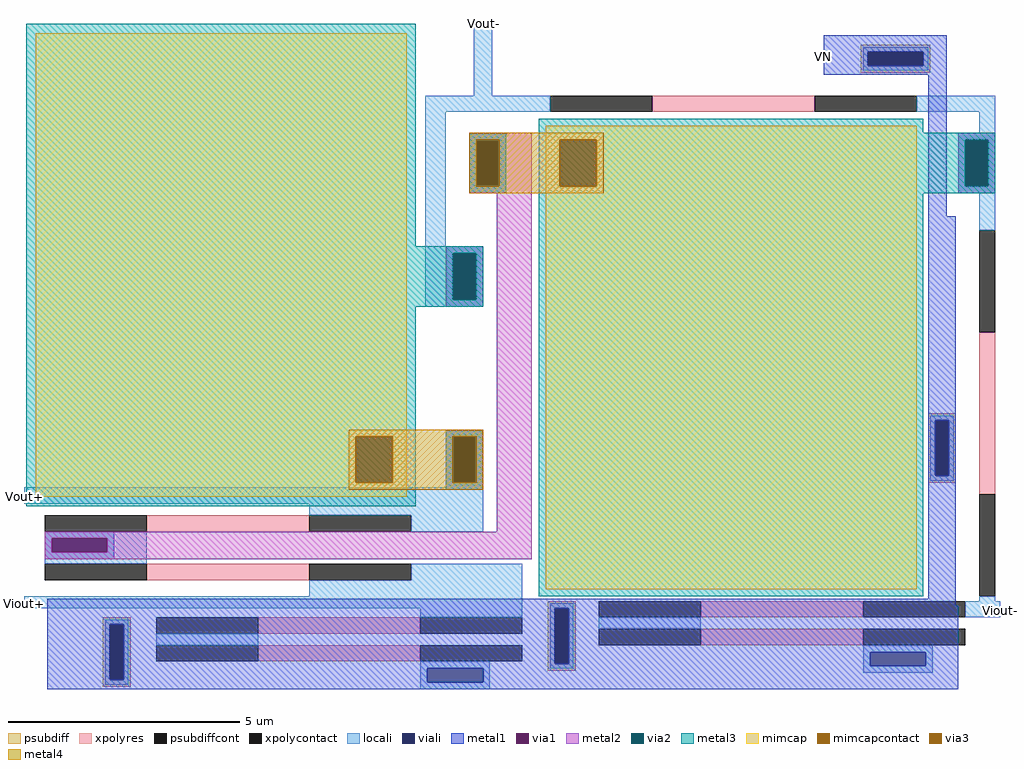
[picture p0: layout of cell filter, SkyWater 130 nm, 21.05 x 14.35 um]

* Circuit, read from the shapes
.subckt filter VN Viout+ Viout- Vout+ Vout-
XC1 Vout+ Vout- sky130_fd_pr__cap_mim_m3_1 w=8 l=10
XC2 n1 n2 sky130_fd_pr__cap_mim_m3_1 w=8 l=10
XR3 Viout+ n1 VN sky130_fd_pr__res_xhigh_po w=0.35 l=3.5
XR4 Vout+ n1 VN sky130_fd_pr__res_xhigh_po w=0.35 l=3.5
XR5 VN n3 VN sky130_fd_pr__res_xhigh_po w=0.35 l=3.5
XR6 Viout+ n3 VN sky130_fd_pr__res_xhigh_po w=0.35 l=3.5
XR7 n2 Vout- VN sky130_fd_pr__res_xhigh_po w=0.35 l=3.5
XR8 VN n4 VN sky130_fd_pr__res_xhigh_po w=0.35 l=3.5
XR9 Viout- n4 VN sky130_fd_pr__res_xhigh_po w=0.35 l=3.5
XR10 n2 Viout- VN sky130_fd_pr__res_xhigh_po w=0.35 l=3.5
.ends

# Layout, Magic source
magic
tech sky130A
<< psubdiff >>
rect 1385 1830 1535 1845
rect 1385 1800 1400 1830
rect 1520 1800 1535 1830
rect 1385 1785 1535 1800
rect 1530 1035 1590 1050
rect 1530 915 1545 1035
rect 1575 915 1590 1035
rect 1530 900 1590 915
rect 710 630 770 645
rect -250 595 -190 610
rect -250 475 -235 595
rect -205 475 -190 595
rect 710 510 725 630
rect 755 510 770 630
rect 710 495 770 510
rect -250 460 -190 475
<< psubdiffcont >>
rect 1400 1800 1520 1830
rect 1545 915 1575 1035
rect -235 475 -205 595
rect 725 510 755 630
<< xpolycontact >>
rect 715 1700 935 1735
rect 1285 1700 1505 1735
rect 1640 1225 1675 1445
rect -375 795 -155 830
rect 195 795 415 830
rect -375 690 -155 725
rect 195 690 415 725
rect 1640 655 1675 875
rect -135 575 85 610
rect 435 575 655 610
rect -135 515 85 550
rect 435 515 655 550
rect 820 610 1040 645
rect 1390 610 1610 645
rect 820 550 1040 585
rect 1390 550 1610 585
<< xpolyres >>
rect 935 1700 1285 1735
rect 1640 875 1675 1225
rect -155 795 195 830
rect -155 690 195 725
rect 85 575 435 610
rect 85 515 435 550
rect 1040 610 1390 645
rect 1040 550 1390 585
<< locali >>
rect 550 1735 590 1890
rect 1390 1830 1530 1840
rect 1390 1800 1400 1830
rect 1520 1800 1530 1830
rect 1390 1790 1530 1800
rect 445 1700 715 1735
rect 1505 1700 1675 1735
rect 445 1410 490 1700
rect 1640 1655 1675 1700
rect 540 1640 620 1655
rect 540 1540 555 1640
rect 605 1540 620 1640
rect 540 1525 620 1540
rect 1595 1640 1675 1655
rect 1595 1540 1610 1640
rect 1660 1540 1675 1640
rect 1595 1525 1675 1540
rect 1640 1445 1675 1525
rect 445 1395 570 1410
rect 445 1295 505 1395
rect 555 1295 570 1395
rect 445 1280 570 1295
rect 1535 1035 1585 1045
rect 490 1000 570 1015
rect 490 900 505 1000
rect 555 900 570 1000
rect 1535 915 1545 1035
rect 1575 915 1585 1035
rect 1535 905 1585 915
rect 490 890 570 900
rect -420 855 570 890
rect 195 830 570 855
rect 415 795 570 830
rect -375 780 -155 795
rect -375 750 -360 780
rect -240 750 -155 780
rect -375 725 -155 750
rect 415 690 655 725
rect 195 655 655 690
rect -420 630 655 655
rect 1640 645 1675 655
rect 435 610 655 630
rect -245 595 -195 605
rect -245 475 -235 595
rect -205 475 -195 595
rect 715 630 765 640
rect -135 550 85 575
rect -245 465 -195 475
rect 435 500 585 515
rect 715 510 725 630
rect 755 510 765 630
rect 1610 610 1685 645
rect 820 585 1040 610
rect 715 500 765 510
rect 1390 535 1540 550
rect 1390 505 1405 535
rect 1525 505 1540 535
rect 435 470 450 500
rect 570 470 585 500
rect 1390 490 1540 505
rect 435 455 585 470
<< viali >>
rect 1400 1800 1520 1830
rect 555 1540 605 1640
rect 1610 1540 1660 1640
rect 505 1295 555 1395
rect 505 900 555 1000
rect 1545 915 1575 1035
rect -360 750 -240 780
rect -235 475 -205 595
rect 725 510 755 630
rect 1405 505 1525 535
rect 450 470 570 500
<< metal1 >>
rect 1305 1830 1570 1865
rect 1305 1800 1400 1830
rect 1520 1800 1570 1830
rect 1305 1780 1570 1800
rect 540 1640 620 1655
rect 540 1540 555 1640
rect 605 1540 620 1640
rect 540 1525 620 1540
rect 1530 1475 1570 1780
rect 1595 1640 1675 1655
rect 1595 1540 1610 1640
rect 1660 1540 1675 1640
rect 1595 1525 1675 1540
rect 490 1395 570 1410
rect 490 1295 505 1395
rect 555 1295 570 1395
rect 490 1280 570 1295
rect 1530 1035 1590 1475
rect 490 1000 570 1015
rect 490 900 505 1000
rect 555 900 570 1000
rect 490 885 570 900
rect 1530 915 1545 1035
rect 1575 915 1590 1035
rect -375 780 -225 795
rect -375 750 -360 780
rect -240 750 -225 780
rect -375 735 -225 750
rect 1530 650 1590 915
rect -370 635 1590 650
rect -370 630 1595 635
rect -370 595 725 630
rect -370 475 -235 595
rect -205 510 725 595
rect 755 535 1595 630
rect 755 510 1405 535
rect -205 505 1405 510
rect 1525 505 1595 535
rect -205 500 1595 505
rect -205 475 450 500
rect -370 470 450 475
rect 570 470 1595 500
rect -370 455 1595 470
<< via1 >>
rect 555 1540 605 1640
rect 1610 1540 1660 1640
rect 505 1295 555 1395
rect 505 900 555 1000
rect -360 750 -240 780
<< metal2 >>
rect 540 1640 675 1655
rect 540 1540 555 1640
rect 605 1540 675 1640
rect 540 1525 675 1540
rect 1595 1640 1675 1655
rect 1595 1540 1610 1640
rect 1660 1540 1675 1640
rect 1595 1525 1675 1540
rect 490 1395 570 1410
rect 490 1295 505 1395
rect 555 1295 570 1395
rect 490 1280 570 1295
rect 490 1000 570 1015
rect 490 900 505 1000
rect 555 900 570 1000
rect 490 885 570 900
rect 600 795 675 1525
rect -375 780 675 795
rect -375 750 -360 780
rect -240 750 675 780
rect -375 735 675 750
<< via2 >>
rect 555 1540 605 1640
rect 1610 1540 1660 1640
rect 505 1295 555 1395
rect 505 900 555 1000
<< metal3 >>
rect -415 1410 425 1890
rect 690 1655 1520 1685
rect 540 1640 620 1655
rect 540 1540 555 1640
rect 605 1540 620 1640
rect 540 1525 620 1540
rect 690 1640 1675 1655
rect 690 1540 1610 1640
rect 1660 1540 1675 1640
rect 690 1525 1675 1540
rect -415 1395 570 1410
rect -415 1295 505 1395
rect 555 1295 570 1395
rect -415 1280 570 1295
rect -415 850 425 1280
rect 490 1000 570 1015
rect 490 900 505 1000
rect 555 900 570 1000
rect 490 885 570 900
rect 690 655 1520 1525
<< via3 >>
rect 555 1540 605 1640
rect 505 900 555 1000
<< mimcap >>
rect -395 1000 405 1870
rect -395 900 295 1000
rect 375 900 405 1000
rect -395 870 405 900
rect 705 1640 1505 1670
rect 705 1540 735 1640
rect 815 1540 1505 1640
rect 705 670 1505 1540
<< mimcapcontact >>
rect 295 900 375 1000
rect 735 1540 815 1640
<< metal4 >>
rect 540 1640 830 1655
rect 540 1540 555 1640
rect 605 1540 735 1640
rect 815 1540 830 1640
rect 540 1525 830 1540
rect 280 1000 570 1015
rect 280 900 295 1000
rect 375 900 505 1000
rect 555 900 570 1000
rect 280 885 570 900
<< labels >>
rlabel locali 1685 625 1685 625 3 Viout-
rlabel locali -420 640 -420 640 7 Viout+
rlabel locali 570 1890 570 1890 1 Vout-
rlabel locali -420 870 -420 870 7 Vout+
rlabel metal1 1305 1820 1305 1820 7 VN
<< end >>
